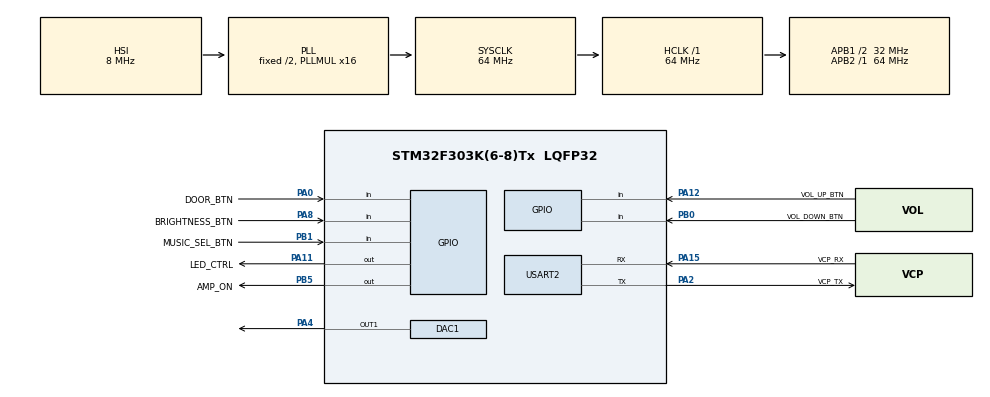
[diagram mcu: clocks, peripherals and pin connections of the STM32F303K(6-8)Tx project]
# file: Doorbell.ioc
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DAC1.DAC_OutputBuffer=DAC_OUTPUTBUFFER_ENABLE
DAC1.DAC_Trigger=DAC_TRIGGER_T6_TRGO
Dma.DAC1_CH1.0.Direction=DMA_MEMORY_TO_PERIPH
Dma.DAC1_CH1.0.Instance=DMA1_Channel3
Dma.DAC1_CH1.0.MemDataAlignment=DMA_MDATAALIGN_HALFWORD
Dma.DAC1_CH1.0.MemInc=DMA_MINC_ENABLE
Dma.DAC1_CH1.0.Mode=DMA_NORMAL
Dma.DAC1_CH1.0.PeriphDataAlignment=DMA_PDATAALIGN_HALFWORD
Dma.DAC1_CH1.0.PeriphInc=DMA_PINC_DISABLE
Dma.DAC1_CH1.0.Priority=DMA_PRIORITY_LOW
Dma.Request0=DAC1_CH1
Mcu.Family=STM32F3
Mcu.Name=STM32F303K(6-8)Tx
Mcu.Package=LQFP32
NVIC.DMA1_Channel3_IRQn=true\:0\:0\:false\:false\:true\:false\:true\:true
NVIC.PriorityGroup=NVIC_PRIORITYGROUP_4
PA0.GPIO_Label=DOOR_BTN
PA0.GPIO_PuPd=GPIO_PULLUP
PA0.Signal=GPIO_Input
PA11.GPIO_Label=LED_CTRL
PA11.Signal=GPIO_Output
PA12.GPIO_Label=VOL_UP_BTN
PA12.GPIO_PuPd=GPIO_PULLUP
PA12.Signal=GPIO_Input
PA13.GPIO_Label=SWDIO
PA13.Mode=Serial_Wire
PA13.Signal=SYS_JTMS-SWDIO
PA14.GPIO_Label=SWCLK
PA14.Mode=Serial_Wire
PA14.Signal=SYS_JTCK-SWCLK
PA15.GPIO_Label=VCP_RX
PA15.Mode=Asynchronous
PA15.Signal=USART2_RX
PA2.GPIO_Label=VCP_TX
PA2.Mode=Asynchronous
PA2.Signal=USART2_TX
PA4.Signal=COMP_DAC11_group
PA8.GPIO_Label=BRIGHTNESS_BTN
PA8.GPIO_PuPd=GPIO_PULLUP
PA8.Signal=GPIO_Input
PB0.GPIO_Label=VOL_DOWN_BTN
PB0.GPIO_PuPd=GPIO_PULLUP
PB0.Signal=GPIO_Input
PB1.GPIO_Label=MUSIC_SEL_BTN
PB1.GPIO_PuPd=GPIO_PULLUP
PB1.Signal=GPIO_Input
PB5.GPIO_Label=AMP_ON
PB5.Signal=GPIO_Output
PF0\ /\ OSC_IN.GPIO_Label=MCO
PF0\ /\ OSC_IN.Mode=HSE-External-Clock-Source
PF0\ /\ OSC_IN.Signal=RCC_OSC_IN
ProjectManager.HeapSize=0x200
ProjectManager.StackSize=0x400
ProjectManager.TargetToolchain=STM32CubeIDE
RCC.AHBFreq_Value=64000000
RCC.APB1CLKDivider=RCC_HCLK_DIV2
RCC.APB1Freq_Value=32000000
RCC.APB1TimFreq_Value=64000000
RCC.APB2Freq_Value=64000000
RCC.APB2TimFreq_Value=64000000
RCC.CortexFreq_Value=64000000
RCC.HCLKFreq_Value=64000000
RCC.HSE_VALUE=8000000
RCC.HSI_VALUE=8000000
RCC.PLLMUL=RCC_PLL_MUL16
RCC.SYSCLKFreq_VALUE=64000000
RCC.SYSCLKSourceVirtual=RCC_SYSCLKSOURCE_PLLCLK
SH.COMP_DAC11_group.0=DAC1_OUT1,DAC_OUT1
TIM6.Period=99
TIM6.Prescaler=63
TIM6.TIM_MasterOutputTrigger=TIM_TRGO_UPDATE
USART2.VirtualMode-Asynchronous=VM_ASYNC
VP_TIM6_VS_ClockSourceINT.Mode=Enable_Timer
board=NUCLEO-F303K8

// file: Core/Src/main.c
/* USER CODE BEGIN Header */
/**
  ******************************************************************************
  * @file           : main.c
  * @brief          : Main program body
  ******************************************************************************
  * @attention
  *
  * Copyright (c) 2024 STMicroelectronics.
  * All rights reserved.
  *
  * This software is licensed under terms that can be found in the LICENSE file
  * in the root directory of this software component.
  * If no LICENSE file comes with this software, it is provided AS-IS.
  *
  ******************************************************************************
  */
/* USER CODE END Header */
#include "main.h"

/* USER CODE BEGIN Includes */
#include "math.h"
/* USER CODE END Includes */

/* USER CODE BEGIN PD */
#define SAMPLE_RATE 10000   // 10 kHz sample rate
#define DAC_AMPLITUDE_DIV 4 //Divide volume by 4
#define DAC_RESOLUTION 2046/DAC_AMPLITUDE_DIV // 12-bit DAC maximum value
#define DAC_MIDPOINT DAC_RESOLUTION/2   // Midpoint value for 0 output
#define PI 3.14159265358979f

// Octave 3
#define NOTE_C3 130.81f
#define NOTE_CS3 138.59f // C sharp 3
#define NOTE_D3 146.83f
#define NOTE_DS3 155.56f // D sharp 3
#define NOTE_E3 164.81f
#define NOTE_F3 174.61f
#define NOTE_FS3 185.00f // F sharp 3
#define NOTE_G3 196.00f
#define NOTE_GS3 207.65f // G sharp 3
#define NOTE_A3 220.00f
#define NOTE_AS3 233.08f // A sharp 3
#define NOTE_B3 246.94f

// Octave 4
#define NOTE_C4 261.63f // Middle C
#define NOTE_CS4 277.18f // C sharp 4
#define NOTE_D4 293.66f
#define NOTE_DS4 311.13f // D sharp 4
#define NOTE_E4 329.63f
#define NOTE_F4 349.23f
#define NOTE_FS4 369.99f // F sharp 4
#define NOTE_G4 392.00f
#define NOTE_GS4 415.30f // G sharp 4
#define NOTE_A4 440.00f
#define NOTE_AS4 466.16f // A sharp 4
#define NOTE_B4 493.88f

// Octave 5
#define NOTE_C5 523.25f
#define NOTE_CS5 554.37f // C sharp 5
#define NOTE_D5 587.33f
#define NOTE_DS5 622.25f // D sharp 5
#define NOTE_E5 659.26f
#define NOTE_F5 698.46f
#define NOTE_FS5 739.99f // F sharp 5
#define NOTE_G5 783.99f
#define NOTE_GS5 830.61f // G sharp 5
#define NOTE_A5 880.00f
#define NOTE_AS5 932.33f // A sharp 5
#define NOTE_B5 987.77f

// Octave 6
#define NOTE_C6 1046.50f
#define NOTE_CS6 1108.73f // C sharp 6
#define NOTE_D6 1174.66f
#define NOTE_DS6 1244.51f // D sharp 6
#define NOTE_E6 1318.51f
#define NOTE_F6 1396.91f
#define NOTE_FS6 1479.98f // F sharp 6
#define NOTE_G6 1567.98f
#define NOTE_GS6 1661.22f // G sharp 6
#define NOTE_A6 1760.00f
#define NOTE_AS6 1864.66f // A sharp 6
#define NOTE_B6 1975.53f

// Octave 7
#define NOTE_C7 2093.00f
#define NOTE_CS7 2217.46f // C sharp 7
#define NOTE_D7 2349.32f
#define NOTE_DS7 2489.02f // D sharp 7
#define NOTE_E7 2637.02f
#define NOTE_F7 2793.83f
#define NOTE_FS7 2959.96f // F sharp 7
#define NOTE_G7 3135.96f
#define NOTE_GS7 3322.44f // G sharp 7
#define NOTE_A7 3520.00f
#define NOTE_AS7 3729.31f // A sharp 7
#define NOTE_B7 3951.07f

#define TEMPO 0.5 // Increase to speed up, decrease to slow down
// Rests
#define NOTE_REST 0 // Silence
// Durations in milliseconds
#define WHOLE_NOTE (1600 / TEMPO) // Whole note
#define HALF_NOTE  (800 / TEMPO)  // Half note
#define QUARTER_NOTE (400 / TEMPO) // Quarter note
#define EIGHTH_NOTE (200 / TEMPO) // Eighth note

/* USER CODE END PD */

/* USER CODE BEGIN PM */
// Define melody and chords
// Define a melody
typedef struct {
    float frequency;  // Frequency of the note (0 for pause)
    uint32_t durationMs; // Duration of the note
} Note;

// Melody array with pauses and various note durations
Note melody[] = {
    // Opening phrase
    {NOTE_E5, EIGHTH_NOTE}, {NOTE_E5, EIGHTH_NOTE}, {NOTE_REST, EIGHTH_NOTE}, {NOTE_E5, EIGHTH_NOTE},
    {NOTE_REST, EIGHTH_NOTE}, {NOTE_C5, EIGHTH_NOTE}, {NOTE_E5, EIGHTH_NOTE}, {NOTE_G5, QUARTER_NOTE},
    {NOTE_REST, QUARTER_NOTE}, {NOTE_G4, QUARTER_NOTE},

    // Second phrase
    {NOTE_C5, QUARTER_NOTE}, {NOTE_G4, QUARTER_NOTE}, {NOTE_E4, QUARTER_NOTE}, {NOTE_A4, EIGHTH_NOTE},
    {NOTE_B4, EIGHTH_NOTE}, {NOTE_A4, EIGHTH_NOTE}, {NOTE_GS4, EIGHTH_NOTE}, {NOTE_AS4, EIGHTH_NOTE},
    {NOTE_G4, EIGHTH_NOTE}, {NOTE_E5, EIGHTH_NOTE}, {NOTE_G5, EIGHTH_NOTE}, {NOTE_A5, HALF_NOTE},
    {NOTE_F5, EIGHTH_NOTE}, {NOTE_G5, EIGHTH_NOTE}, {NOTE_REST, EIGHTH_NOTE}, {NOTE_E5, QUARTER_NOTE},
    {NOTE_C5, EIGHTH_NOTE}, {NOTE_D5, EIGHTH_NOTE}, {NOTE_B4, EIGHTH_NOTE},

    // Third phrase
    {NOTE_C5, QUARTER_NOTE}, {NOTE_G4, QUARTER_NOTE}, {NOTE_E4, QUARTER_NOTE}, {NOTE_A4, EIGHTH_NOTE},
    {NOTE_B4, EIGHTH_NOTE}, {NOTE_A4, EIGHTH_NOTE}, {NOTE_GS4, EIGHTH_NOTE}, {NOTE_AS4, EIGHTH_NOTE},
    {NOTE_G4, EIGHTH_NOTE}, {NOTE_E5, EIGHTH_NOTE}, {NOTE_G5, EIGHTH_NOTE}, {NOTE_A5, HALF_NOTE},
    {NOTE_F5, EIGHTH_NOTE}, {NOTE_G5, EIGHTH_NOTE}, {NOTE_REST, EIGHTH_NOTE}, {NOTE_E5, QUARTER_NOTE},
    {NOTE_C5, EIGHTH_NOTE}, {NOTE_D5, EIGHTH_NOTE}, {NOTE_B4, EIGHTH_NOTE},

    // Ending phrase
    {NOTE_G5, QUARTER_NOTE}, {NOTE_FS5, QUARTER_NOTE}, {NOTE_F5, EIGHTH_NOTE}, {NOTE_DS5, EIGHTH_NOTE},
    {NOTE_E5, QUARTER_NOTE}, {NOTE_GS4, QUARTER_NOTE}, {NOTE_A4, QUARTER_NOTE}, {NOTE_C5, EIGHTH_NOTE},
    {NOTE_A4, EIGHTH_NOTE}, {NOTE_C5, QUARTER_NOTE}, {NOTE_D5, QUARTER_NOTE},
    {NOTE_G5, QUARTER_NOTE}, {NOTE_FS5, QUARTER_NOTE}, {NOTE_F5, EIGHTH_NOTE}, {NOTE_DS5, EIGHTH_NOTE},
    {NOTE_E5, QUARTER_NOTE}, {NOTE_C5, QUARTER_NOTE}, {NOTE_E5, QUARTER_NOTE}, {NOTE_A5, QUARTER_NOTE},
    {NOTE_REST, QUARTER_NOTE}, {NOTE_A5, EIGHTH_NOTE}, {NOTE_AS5, EIGHTH_NOTE}, {NOTE_A5, EIGHTH_NOTE},
    {NOTE_G5, EIGHTH_NOTE}, {NOTE_E5, QUARTER_NOTE}, {NOTE_G5, QUARTER_NOTE}, {NOTE_A5, QUARTER_NOTE},
    {NOTE_F5, EIGHTH_NOTE}, {NOTE_G5, EIGHTH_NOTE}, {NOTE_REST, EIGHTH_NOTE},
};

#define MAX_SAMPLES 2000 // Buffer size for one note
uint16_t soundBuffer1[MAX_SAMPLES]; // Buffer 1
uint16_t soundBuffer2[MAX_SAMPLES]; // Buffer 2
uint16_t* currentBuffer = soundBuffer1; // Active buffer
uint16_t* nextBuffer = soundBuffer2;    // Buffer for preloading
uint32_t currentMelodyIndex = 0;
float sinePhase = 0; // Global sine phase
/* USER CODE END PM */

DAC_HandleTypeDef hdac1;
DMA_HandleTypeDef hdma_dac1_ch1;

TIM_HandleTypeDef htim6;

UART_HandleTypeDef huart2;

void SystemClock_Config(void);
static void MX_GPIO_Init(void);
static void MX_DMA_Init(void);
static void MX_USART2_UART_Init(void);
static void MX_DAC1_Init(void);
static void MX_TIM6_Init(void);
/* USER CODE BEGIN PFP */
void PlayNote(Note note);
void GenerateNoteWaveform(float frequency, uint32_t durationMs, uint16_t* buffer);
/* USER CODE END PFP */

/* USER CODE BEGIN 0 */
// Function to generate the waveform for a single note or pause
void GenerateNoteWaveform(float frequency, uint32_t durationMs, uint16_t* buffer) {
    uint32_t numSamples = (SAMPLE_RATE * durationMs) / 1000;
    if (numSamples > MAX_SAMPLES) numSamples = MAX_SAMPLES;

    uint32_t fadeInSamples = numSamples * 5 / 100;  // 5% fade-in
    uint32_t fadeOutSamples = numSamples * 40 / 100; // 40% fade-out
    uint32_t fadeOutStart = numSamples - fadeOutSamples;

    for (uint32_t i = 0; i < numSamples; i++) {
        float amplitude = 1.0;

        // Fade-in logic
        if (i < fadeInSamples) {
            amplitude = (float)i / fadeInSamples;
        }
        // Fade-out logic
        else if (i >= fadeOutStart) {
            amplitude = (float)(numSamples - i) / fadeOutSamples;
        }

        // Sine wave or silence
        if (frequency > 0) {
            buffer[i] = (uint16_t)(DAC_MIDPOINT + (DAC_RESOLUTION / 2) * amplitude * sin(sinePhase));
            sinePhase += 2 * PI * frequency / SAMPLE_RATE;
            if (sinePhase >= 2 * PI) sinePhase -= 2 * PI; // Keep phase continuous
        } else {
            buffer[i] = DAC_MIDPOINT; // Center value for silence
        }
    }
}

// Start playing a note
void PlayNote(Note currentNote) {
    // Start DMA transfer for the current buffer
    uint32_t numSamples = (SAMPLE_RATE * currentNote.durationMs) / 1000;
    if (numSamples > MAX_SAMPLES) numSamples = MAX_SAMPLES;

    HAL_DAC_Start_DMA(&hdac1, DAC_CHANNEL_1, (uint32_t*)currentBuffer, numSamples, DAC_ALIGN_12B_R);

    // Generate waveform for the next note in the background
    Note nextNote = melody[(currentMelodyIndex + 1) % (sizeof(melody) / sizeof(Note))];
    GenerateNoteWaveform(nextNote.frequency, nextNote.durationMs, nextBuffer);
}

// DMA completion callback
void HAL_DAC_ConvCpltCallbackCh1(DAC_HandleTypeDef* hdac) {
    // Advance to the next note
    currentMelodyIndex++;
    if (currentMelodyIndex >= sizeof(melody) / sizeof(Note)) {
        currentMelodyIndex = 0; // Loop melody
    }

    // Swap buffers
    uint16_t* temp = currentBuffer;
    currentBuffer = nextBuffer;
    nextBuffer = temp;

    // Play the current note and prepare the next note
    PlayNote(melody[currentMelodyIndex]);
}
/* USER CODE END 0 */

int main(void)
{

  /* MCU Configuration--------------------------------------------------------*/

  /* Reset of all peripherals, Initializes the Flash interface and the Systick. */
  HAL_Init();

  /* Configure the system clock */
  SystemClock_Config();

  /* Initialize all configured peripherals */
  MX_GPIO_Init();
  MX_DMA_Init();
  MX_USART2_UART_Init();
  MX_DAC1_Init();
  MX_TIM6_Init();
  /* USER CODE BEGIN 2 */
  // Start playing the first note
  PlayNote(melody[currentMelodyIndex]);

  // Start the timer to trigger note changes
  // Start the timer to trigger the DAC
  HAL_TIM_Base_Start(&htim6);

  /* USER CODE END 2 */

  /* Infinite loop */
  /* USER CODE BEGIN WHILE */
  while (1)
  {
	  HAL_Delay(100);
	  if (!HAL_GPIO_ReadPin(MUSIC_SEL_BTN_GPIO_Port, MUSIC_SEL_BTN_Pin))
	  {
		  HAL_GPIO_WritePin(AMP_ON_GPIO_Port, AMP_ON_Pin, GPIO_PIN_SET);
	  }
	  else
	  {
		  HAL_GPIO_WritePin(AMP_ON_GPIO_Port, AMP_ON_Pin, GPIO_PIN_RESET);
	  }
	  /*
	  	  HAL_GPIO_WritePin(LED_CTRL_GPIO_Port, LED_CTRL_Pin, GPIO_PIN_RESET);
	  	  HAL_Delay(900);
	  	  HAL_GPIO_WritePin(LED_CTRL_GPIO_Port, LED_CTRL_Pin, GPIO_PIN_SET);
	  	  HAL_Delay(100);
	  	  */
    /* USER CODE END WHILE */

  }
}

void SystemClock_Config(void)
{
  RCC_OscInitTypeDef RCC_OscInitStruct = {0};
  RCC_ClkInitTypeDef RCC_ClkInitStruct = {0};

  /** Initializes the RCC Oscillators according to the specified parameters
  * in the RCC_OscInitTypeDef structure.
  */
  RCC_OscInitStruct.OscillatorType = RCC_OSCILLATORTYPE_HSI;
  RCC_OscInitStruct.HSIState = RCC_HSI_ON;
  RCC_OscInitStruct.HSICalibrationValue = RCC_HSICALIBRATION_DEFAULT;
  RCC_OscInitStruct.PLL.PLLState = RCC_PLL_ON;
  RCC_OscInitStruct.PLL.PLLSource = RCC_PLLSOURCE_HSI;
  RCC_OscInitStruct.PLL.PLLMUL = RCC_PLL_MUL16;
  if (HAL_RCC_OscConfig(&RCC_OscInitStruct) != HAL_OK)
  {
    Error_Handler();
  }

  /** Initializes the CPU, AHB and APB buses clocks
  */
  RCC_ClkInitStruct.ClockType = RCC_CLOCKTYPE_HCLK|RCC_CLOCKTYPE_SYSCLK
                              |RCC_CLOCKTYPE_PCLK1|RCC_CLOCKTYPE_PCLK2;
  RCC_ClkInitStruct.SYSCLKSource = RCC_SYSCLKSOURCE_PLLCLK;
  RCC_ClkInitStruct.AHBCLKDivider = RCC_SYSCLK_DIV1;
  RCC_ClkInitStruct.APB1CLKDivider = RCC_HCLK_DIV2;
  RCC_ClkInitStruct.APB2CLKDivider = RCC_HCLK_DIV1;

  if (HAL_RCC_ClockConfig(&RCC_ClkInitStruct, FLASH_LATENCY_2) != HAL_OK)
  {
    Error_Handler();
  }
}

static void MX_DAC1_Init(void)
{

  DAC_ChannelConfTypeDef sConfig = {0};

  /** DAC Initialization
  */
  hdac1.Instance = DAC1;
  if (HAL_DAC_Init(&hdac1) != HAL_OK)
  {
    Error_Handler();
  }

  /** DAC channel OUT1 config
  */
  sConfig.DAC_Trigger = DAC_TRIGGER_T6_TRGO;
  sConfig.DAC_OutputBuffer = DAC_OUTPUTBUFFER_ENABLE;
  if (HAL_DAC_ConfigChannel(&hdac1, &sConfig, DAC_CHANNEL_1) != HAL_OK)
  {
    Error_Handler();
  }

}

static void MX_TIM6_Init(void)
{

  TIM_MasterConfigTypeDef sMasterConfig = {0};

  htim6.Instance = TIM6;
  htim6.Init.Prescaler = 63;
  htim6.Init.CounterMode = TIM_COUNTERMODE_UP;
  htim6.Init.Period = 99;
  htim6.Init.AutoReloadPreload = TIM_AUTORELOAD_PRELOAD_DISABLE;
  if (HAL_TIM_Base_Init(&htim6) != HAL_OK)
  {
    Error_Handler();
  }
  sMasterConfig.MasterOutputTrigger = TIM_TRGO_UPDATE;
  sMasterConfig.MasterSlaveMode = TIM_MASTERSLAVEMODE_DISABLE;
  if (HAL_TIMEx_MasterConfigSynchronization(&htim6, &sMasterConfig) != HAL_OK)
  {
    Error_Handler();
  }

}

static void MX_USART2_UART_Init(void)
{

  huart2.Instance = USART2;
  huart2.Init.BaudRate = 38400;
  huart2.Init.WordLength = UART_WORDLENGTH_8B;
  huart2.Init.StopBits = UART_STOPBITS_1;
  huart2.Init.Parity = UART_PARITY_NONE;
  huart2.Init.Mode = UART_MODE_TX_RX;
  huart2.Init.HwFlowCtl = UART_HWCONTROL_NONE;
  huart2.Init.OverSampling = UART_OVERSAMPLING_16;
  huart2.Init.OneBitSampling = UART_ONE_BIT_SAMPLE_DISABLE;
  huart2.AdvancedInit.AdvFeatureInit = UART_ADVFEATURE_NO_INIT;
  if (HAL_UART_Init(&huart2) != HAL_OK)
  {
    Error_Handler();
  }

}

static void MX_DMA_Init(void)
{

  /* DMA controller clock enable */
  __HAL_RCC_DMA1_CLK_ENABLE();

  /* DMA interrupt init */
  /* DMA1_Channel3_IRQn interrupt configuration */
  HAL_NVIC_SetPriority(DMA1_Channel3_IRQn, 0, 0);
  HAL_NVIC_EnableIRQ(DMA1_Channel3_IRQn);

}

static void MX_GPIO_Init(void)
{
  GPIO_InitTypeDef GPIO_InitStruct = {0};

  /* GPIO Ports Clock Enable */
  __HAL_RCC_GPIOF_CLK_ENABLE();
  __HAL_RCC_GPIOA_CLK_ENABLE();
  __HAL_RCC_GPIOB_CLK_ENABLE();

  /*Configure GPIO pin Output Level */
  HAL_GPIO_WritePin(LED_CTRL_GPIO_Port, LED_CTRL_Pin, GPIO_PIN_RESET);

  /*Configure GPIO pin Output Level */
  HAL_GPIO_WritePin(AMP_ON_GPIO_Port, AMP_ON_Pin, GPIO_PIN_RESET);

  /*Configure GPIO pins : DOOR_BTN_Pin BRIGHTNESS_BTN_Pin VOL_UP_BTN_Pin */
  GPIO_InitStruct.Pin = DOOR_BTN_Pin|BRIGHTNESS_BTN_Pin|VOL_UP_BTN_Pin;
  GPIO_InitStruct.Mode = GPIO_MODE_INPUT;
  GPIO_InitStruct.Pull = GPIO_PULLUP;
  HAL_GPIO_Init(GPIOA, &GPIO_InitStruct);

  /*Configure GPIO pins : VOL_DOWN_BTN_Pin MUSIC_SEL_BTN_Pin */
  GPIO_InitStruct.Pin = VOL_DOWN_BTN_Pin|MUSIC_SEL_BTN_Pin;
  GPIO_InitStruct.Mode = GPIO_MODE_INPUT;
  GPIO_InitStruct.Pull = GPIO_PULLUP;
  HAL_GPIO_Init(GPIOB, &GPIO_InitStruct);

  /*Configure GPIO pin : LED_CTRL_Pin */
  GPIO_InitStruct.Pin = LED_CTRL_Pin;
  GPIO_InitStruct.Mode = GPIO_MODE_OUTPUT_PP;
  GPIO_InitStruct.Pull = GPIO_NOPULL;
  GPIO_InitStruct.Speed = GPIO_SPEED_FREQ_LOW;
  HAL_GPIO_Init(LED_CTRL_GPIO_Port, &GPIO_InitStruct);

  /*Configure GPIO pin : AMP_ON_Pin */
  GPIO_InitStruct.Pin = AMP_ON_Pin;
  GPIO_InitStruct.Mode = GPIO_MODE_OUTPUT_PP;
  GPIO_InitStruct.Pull = GPIO_NOPULL;
  GPIO_InitStruct.Speed = GPIO_SPEED_FREQ_LOW;
  HAL_GPIO_Init(AMP_ON_GPIO_Port, &GPIO_InitStruct);

}

void Error_Handler(void)
{
  __disable_irq();
  while (1)
  {
  }
}
